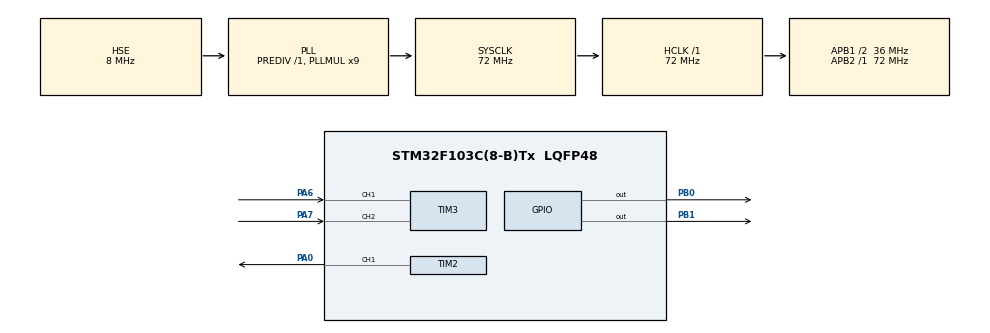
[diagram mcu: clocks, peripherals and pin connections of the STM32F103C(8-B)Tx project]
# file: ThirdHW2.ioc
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Mcu.Family=STM32F1
Mcu.Name=STM32F103C(8-B)Tx
Mcu.Package=LQFP48
NVIC.PriorityGroup=NVIC_PRIORITYGROUP_4
PA0-WKUP.Signal=S_TIM2_CH1_ETR
PA13.Mode=Serial_Wire
PA13.Signal=SYS_JTMS-SWDIO
PA14.Mode=Serial_Wire
PA14.Signal=SYS_JTCK-SWCLK
PA6.GPIO_PuPd=GPIO_PULLUP
PA6.Signal=S_TIM3_CH1
PA7.GPIO_PuPd=GPIO_PULLUP
PA7.Signal=S_TIM3_CH2
PB0.Signal=GPIO_Output
PB1.Signal=GPIO_Output
PD0-OSC_IN.Mode=HSE-External-Oscillator
PD0-OSC_IN.Signal=RCC_OSC_IN
PD1-OSC_OUT.Mode=HSE-External-Oscillator
PD1-OSC_OUT.Signal=RCC_OSC_OUT
ProjectManager.HeapSize=0x200
ProjectManager.StackSize=0x400
ProjectManager.TargetToolchain=MDK-ARM V5.32
RCC.ADCPresc=RCC_ADCPCLK2_DIV6
RCC.AHBFreq_Value=72000000
RCC.APB1CLKDivider=RCC_HCLK_DIV2
RCC.APB1Freq_Value=36000000
RCC.APB1TimFreq_Value=72000000
RCC.APB2Freq_Value=72000000
RCC.APB2TimFreq_Value=72000000
RCC.HCLKFreq_Value=72000000
RCC.PLLMUL=RCC_PLL_MUL9
RCC.PLLSourceVirtual=RCC_PLLSOURCE_HSE
RCC.SYSCLKFreq_VALUE=72000000
RCC.SYSCLKSource=RCC_SYSCLKSOURCE_PLLCLK
RCC.USBFreq_Value=72000000
SH.S_TIM2_CH1_ETR.0=TIM2_CH1,PWM Generation1 CH1
SH.S_TIM3_CH1.0=TIM3_CH1,Encoder_Interface
SH.S_TIM3_CH2.0=TIM3_CH2,Encoder_Interface
TIM2.AutoReloadPreload=TIM_AUTORELOAD_PRELOAD_ENABLE
TIM2.Channel-PWM\ Generation1\ CH1=TIM_CHANNEL_1
TIM2.Period=99
TIM2.Prescaler=71
TIM3.EncoderMode=TIM_ENCODERMODE_TI12
TIM3.IC1Filter=6
TIM3.IC2Filter=6
VP_TIM2_VS_ClockSourceINT.Mode=Internal
board=custom

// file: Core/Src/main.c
/* USER CODE BEGIN Header */
/**
  ******************************************************************************
  * @file           : main.c
  * @brief          : Main program body
  ******************************************************************************
  * @attention
  *
  * Copyright (c) 2026 STMicroelectronics.
  * All rights reserved.
  *
  * This software is licensed under terms that can be found in the LICENSE file
  * in the root directory of this software component.
  * If no LICENSE file comes with this software, it is provided AS-IS.
  *
  ******************************************************************************
  */
/* USER CODE END Header */
#include "main.h"
#include "tim.h"
#include "gpio.h"

/* USER CODE BEGIN Includes */
#include "OLED.h"
/* USER CODE END Includes */

/* USER CODE BEGIN PD */
#define ENC_DIV       4U
#define DUTY_MAX      100U

#define MOTOR_PORT    GPIOB
#define AIN1_PIN      GPIO_PIN_0
#define AIN2_PIN      GPIO_PIN_1
/* USER CODE END PD */

/* USER CODE BEGIN PV */
static int32_t  enc_raw = 0;
static int16_t  enc_last = 0;
static uint8_t  duty = 0;
static int32_t  last_shown_raw = -1;
static uint32_t last_ui = 0;
/* USER CODE END PV */

void SystemClock_Config(void);
/* USER CODE BEGIN PFP */
static void Board_Led_Init(void);
static void Motor_Init(void);
static void Motor_SetDuty(uint8_t d);
static int16_t Encoder_ReadDelta(void);
static void Display_Update(void);
/* USER CODE END PFP */

int main(void)
{

  /* MCU Configuration--------------------------------------------------------*/
  HAL_Init();

  SystemClock_Config();

  MX_GPIO_Init();
  Board_Led_Init();
  MX_TIM2_Init();
  MX_TIM3_Init();

  /* USER CODE BEGIN 2 */
  /* OLED first: it must be alive even if a timer later misbehaves. */
  OLED_Init();
  OLED_Clear();

  OLED_ShowString(1, 1, "MOTOR OPEN LOOP");
  OLED_ShowString(2, 1, "ENC:");
  OLED_ShowNum(2, 6, 0, 3);
  OLED_ShowString(3, 1, "DUTY:");
  OLED_ShowNum(3, 7, 0, 3);
  OLED_ShowString(3, 10, "%");
  OLED_ShowString(4, 1, "RAW:");
  OLED_ShowNum(4, 6, 0, 4);

  /* Motors and encoder after the display is initialized. */
  Motor_Init();

  (void)HAL_TIM_PWM_Start(&htim2, TIM_CHANNEL_1);
  (void)HAL_TIM_Encoder_Start(&htim3, TIM_CHANNEL_ALL);

  __HAL_TIM_SET_COUNTER(&htim3, 0);
  enc_last = (int16_t)__HAL_TIM_GET_COUNTER(&htim3);

  last_shown_raw = 0;
  last_ui = HAL_GetTick();
  /* USER CODE END 2 */

  /* Infinite loop */
  while (1)
  {

    /* USER CODE BEGIN 3 */
    int16_t delta;

    delta = Encoder_ReadDelta();
    if (delta != 0)
    {
      enc_raw += delta;

      if (enc_raw < 0)
      {
        enc_raw = 0;
      }
      if (enc_raw > (int32_t)(DUTY_MAX * ENC_DIV))
      {
        enc_raw = (int32_t)(DUTY_MAX * ENC_DIV);
      }

      duty = (uint8_t)(enc_raw / (int32_t)ENC_DIV);
      Motor_SetDuty(duty);
    }

    if ((enc_raw != last_shown_raw) &&
        ((HAL_GetTick() - last_ui) >= 50U))
    {
      last_ui = HAL_GetTick();
      last_shown_raw = enc_raw;
      Display_Update();
    }

    HAL_Delay(1);
    /* USER CODE END 3 */
  }
}

void SystemClock_Config(void)
{
  RCC_OscInitTypeDef RCC_OscInitStruct = {0};
  RCC_ClkInitTypeDef RCC_ClkInitStruct = {0};

  RCC_OscInitStruct.OscillatorType = RCC_OSCILLATORTYPE_HSE;
  RCC_OscInitStruct.HSEState = RCC_HSE_ON;
  RCC_OscInitStruct.HSEPredivValue = RCC_HSE_PREDIV_DIV1;
  RCC_OscInitStruct.HSIState = RCC_HSI_ON;
  RCC_OscInitStruct.PLL.PLLState = RCC_PLL_ON;
  RCC_OscInitStruct.PLL.PLLSource = RCC_PLLSOURCE_HSE;
  RCC_OscInitStruct.PLL.PLLMUL = RCC_PLL_MUL9;
  if (HAL_RCC_OscConfig(&RCC_OscInitStruct) != HAL_OK)
  {
    Error_Handler();
  }

  RCC_ClkInitStruct.ClockType = RCC_CLOCKTYPE_HCLK | RCC_CLOCKTYPE_SYSCLK
                              | RCC_CLOCKTYPE_PCLK1 | RCC_CLOCKTYPE_PCLK2;
  RCC_ClkInitStruct.SYSCLKSource = RCC_SYSCLKSOURCE_PLLCLK;
  RCC_ClkInitStruct.AHBCLKDivider = RCC_SYSCLK_DIV1;
  RCC_ClkInitStruct.APB1CLKDivider = RCC_HCLK_DIV2;
  RCC_ClkInitStruct.APB2CLKDivider = RCC_HCLK_DIV1;

  if (HAL_RCC_ClockConfig(&RCC_ClkInitStruct, FLASH_LATENCY_2) != HAL_OK)
  {
    Error_Handler();
  }
}

/* USER CODE BEGIN 4 */
static void Board_Led_Init(void)
{
  GPIO_InitTypeDef GPIO_InitStruct = {0};

  __HAL_RCC_GPIOC_CLK_ENABLE();

  GPIO_InitStruct.Pin = GPIO_PIN_13;
  GPIO_InitStruct.Mode = GPIO_MODE_OUTPUT_PP;
  GPIO_InitStruct.Pull = GPIO_NOPULL;
  GPIO_InitStruct.Speed = GPIO_SPEED_FREQ_LOW;
  HAL_GPIO_Init(GPIOC, &GPIO_InitStruct);

  /* Blue Pill PC13 LED: low level = on. */
  HAL_GPIO_WritePin(GPIOC, GPIO_PIN_13, GPIO_PIN_RESET);
}

static void Motor_Init(void)
{
  /* Forward direction: AIN1 = 1, AIN2 = 0. PWM starts at 0%. */
  HAL_GPIO_WritePin(MOTOR_PORT, AIN1_PIN, GPIO_PIN_SET);
  HAL_GPIO_WritePin(MOTOR_PORT, AIN2_PIN, GPIO_PIN_RESET);
  __HAL_TIM_SET_COMPARE(&htim2, TIM_CHANNEL_1, 0);
}

static void Motor_SetDuty(uint8_t d)
{
  if (d > DUTY_MAX)
  {
    d = (uint8_t)DUTY_MAX;
  }

  /* TIM2 ARR = 99, so CCR = 0..100 gives 0..100% duty. */
  __HAL_TIM_SET_COMPARE(&htim2, TIM_CHANNEL_1, d);
}

static int16_t Encoder_ReadDelta(void)
{
  int16_t now;
  int16_t delta;

  now = (int16_t)__HAL_TIM_GET_COUNTER(&htim3);
  delta = (int16_t)(now - enc_last);
  enc_last = now;

  return delta;
}

static void Display_Update(void)
{
  OLED_ShowNum(2, 6, (uint32_t)(enc_raw / (int32_t)ENC_DIV), 3);
  OLED_ShowNum(3, 7, duty, 3);
  OLED_ShowNum(4, 6, (uint32_t)enc_raw, 4);
}
/* USER CODE END 4 */

void Error_Handler(void)
{
  __disable_irq();
  while (1)
  {
  }
}

#ifdef  USE_FULL_ASSERT
/**
  * @brief  Reports the name of the source file and the source line number
  *         where the assert_param error has occurred.
  * @param  file: pointer to the source file name
  * @param  line: assert_param error line source number
  * @retval None
  */
void assert_failed(uint8_t *file, uint32_t line)
{
  /* USER CODE BEGIN 6 */
  (void)file;
  (void)line;
  /* USER CODE END 6 */
}
#endif /* USE_FULL_ASSERT */
